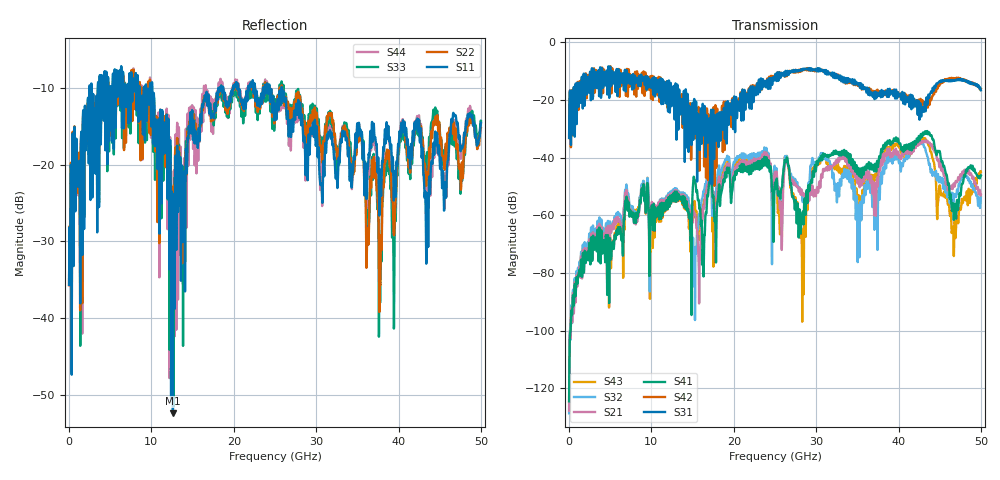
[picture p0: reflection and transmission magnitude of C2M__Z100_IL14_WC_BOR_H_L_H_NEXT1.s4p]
# GHz S MA R 50
! S-Parameters data
! Freq  magS11  angS11  magS12  angS12  magS13  angS13  magS14  angS14
!  magS21  angS21  magS22  angS22  magS23  angS23  magS24  angS24
!  magS31  angS31  magS32  angS32  magS33  angS33  magS34  angS34
!  magS41  angS41  magS42  angS42  magS43  angS43  magS44  angS44
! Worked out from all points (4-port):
!   5000 points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, 10 MHz to 50 GHz, reference 50 ohm
!   strongest paths, dB at 10 MHz, 12.51 GHz, 25.01 GHz, 37.51 GHz, 50 GHz:
!     S31: -33.1, -15.9, -11.5, -18.3, -16.6
!     S42: -33.1, -16.5, -11.6, -17.6, -16.1
!     S41: -124.5, -53.7, -48.5, -43.1, -46.1
!     S21: -127.7, -52.7, -44.9, -48.7, -52.8
!     S32: -128.6, -52.2, -43.4, -55.4, -53.7
!     S43: -124.7, -53.5, -47.2, -45.7, -44.9
!   lowest |S11| = -52.4 dB at 12.61 GHz (marker M1), VSWR 1.00, Z = 50.1 - j0.206 ohm
!   |S11| at or under -10 dB: start of sweep to 2.48 GHz; 10.11 GHz to 18.31 GHz (8.203 GHz wide, 57.7 % of centre); 25.82 GHz to end of sweep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
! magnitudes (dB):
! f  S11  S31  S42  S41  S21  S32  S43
! 10 MHz  -35.6  -33.1  -33.1  -124.5  -127.7  -128.6  -124.7
! 5.94 GHz  -8.2  -11.7  -13.4  -64.4  -60.5  -58.8  -62.8
! 12.61 GHz  -52.4  -20.9  -19.4  -53.6  -52.6  -51.9  -52.8
! 15.22 GHz  -16.3  -19.9  -25.3  -48.0  -59.7  -73.5  -55.4
! 23.75 GHz  -10.0  -13.7  -13.5  -40.0  -38.4  -36.6  -38.2
! 28.29 GHz  -13.5  -9.7  -9.5  -60.6  -52.1  -52.9  -77.8
! 50 GHz  -14.6  -16.6  -16.1  -46.1  -52.8  -53.7  -44.9
